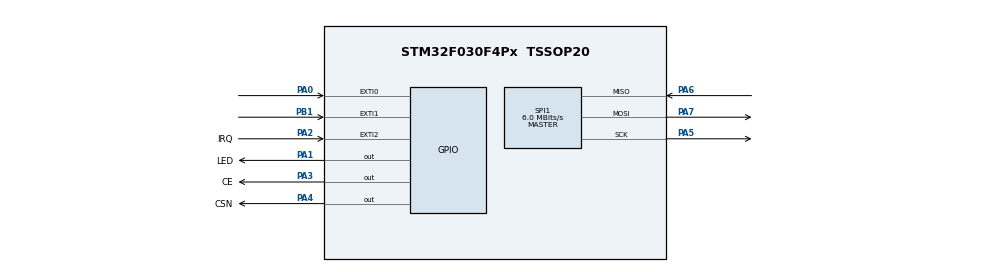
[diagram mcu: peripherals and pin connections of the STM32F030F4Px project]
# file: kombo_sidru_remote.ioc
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IWDG.Prescaler=IWDG_PRESCALER_32
Mcu.Family=STM32F0
Mcu.Name=STM32F030F4Px
Mcu.Package=TSSOP20
NVIC.EXTI0_1_IRQn=true\:0\:0\:false\:false\:true\:true\:true
NVIC.EXTI2_3_IRQn=true\:0\:0\:false\:false\:true\:true\:true
PA0.GPIO_ModeDefaultEXTI=GPIO_MODE_IT_FALLING
PA0.GPIO_PuPd=GPIO_NOPULL
PA0.Signal=GPXTI0
PA1.GPIO_Label=LED
PA1.Signal=GPIO_Output
PA13.Mode=Serial_Wire
PA13.Signal=SYS_SWDIO
PA14.Mode=Serial_Wire
PA14.Signal=SYS_SWCLK
PA2.GPIO_Label=IRQ
PA2.Signal=GPXTI2
PA3.GPIO_Label=CE
PA3.Signal=GPIO_Output
PA4.GPIO_Label=CSN
PA4.Signal=GPIO_Output
PA5.Mode=Full_Duplex_Master
PA5.Signal=SPI1_SCK
PA6.Mode=Full_Duplex_Master
PA6.Signal=SPI1_MISO
PA7.Mode=Full_Duplex_Master
PA7.Signal=SPI1_MOSI
PB1.GPIO_ModeDefaultEXTI=GPIO_MODE_IT_FALLING
PB1.GPIO_PuPd=GPIO_NOPULL
PB1.Signal=GPXTI1
PF0-OSC_IN.Mode=HSE-External-Oscillator
PF0-OSC_IN.Signal=RCC_OSC_IN
PF1-OSC_OUT.Mode=HSE-External-Oscillator
PF1-OSC_OUT.Signal=RCC_OSC_OUT
ProjectManager.HeapSize=0x200
ProjectManager.StackSize=0x400
ProjectManager.TargetToolchain=MDK-ARM V5.32
RCC.AHBFreq_Value=48000000
RCC.APB1Freq_Value=48000000
RCC.APB1TimFreq_Value=48000000
RCC.HCLKFreq_Value=48000000
RCC.PLLMUL=RCC_PLL_MUL6
RCC.PLLSourceVirtual=RCC_PLLSOURCE_HSE
RCC.SYSCLKFreq_VALUE=48000000
RCC.SYSCLKSource=RCC_SYSCLKSOURCE_PLLCLK
SPI1.BaudRatePrescaler=SPI_BAUDRATEPRESCALER_8
SPI1.CalculateBaudRate=6.0 MBits/s
SPI1.DataSize=SPI_DATASIZE_8BIT
SPI1.Direction=SPI_DIRECTION_2LINES
SPI1.Mode=SPI_MODE_MASTER
SPI1.VirtualType=VM_MASTER
VP_IWDG_VS_IWDG.Mode=IWDG_Activate
board=custom

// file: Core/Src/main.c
/* USER CODE BEGIN Header */
/*
* main.c
* Основной файл программы пульта ДУ контроллера светодиодов ws2812b
* СветоИздучающего Декоративного Радиоуправляемого Устройства (СИДРУ)
* Проект "КомБО" (Открытые системы беспроводной коммуникации)
*
* Микроконтроллер:  stm32f030f4p6
* Приемопередатчик: nrf24l01+
*
* Подключение периферии:
* NRF24L01		STM32
* CE					PA3(9)
* CSN					PA4(10)
* SCK					PA5(11)
* MOSI				PA7(13)
* MISO				PA6(12)
* IRQ					PA2(8)
*
* светодиод		PA1(7)
* кнопка 1		PB1(14)
* кнопка 2		PA0(6)
*
*   Краткое описание работы устройства:
* При включении питания устройство моргает светодиодом 5 раз.
* В процессе работы устройство принимает запросы от основного устройства и отправляет
* пустые ответы, если ни одна из кнопок не нажата, и команды включения/выключения
* или смены режима при нажатии соответствующей кнопки.
* Ответ на каждый запрос сопровождается морганием светодиода.
*
* Для определения состояния кнопок используются прерывания, срабатывающие по спаду уровня
*
* Примечания:
* - Проект создан в STM32CubeMX, структура проекта, основные настройки и инициализация периферии
*   созданы автоматически.
* - Для МК stm32f030f4p6 - без перемычки на BOOT (1) - старт в режиме загрузчика, можно подключиться
*   по USART и через SWD, с перемычкой - нормальная загрузка, можно подключиться только через SWD.
*
*		Автор: Мелехин В.Н. (MelexinVN)
*/

/* USER CODE END Header */
#include "main.h"

/* USER CODE BEGIN PV */
//объявляем переменные
uint8_t f_but_1 = 0;			//флаг нажатия первой кнопки
uint8_t f_but_2 = 0;			//флаг нажатия второй кнопки

//внешние переменные и массивы
extern volatile uint8_t f_rx, f_tx;			//флаги приема и передачи
extern uint8_t tx_buf[TX_PLOAD_WIDTH];	//буфер передачи
extern uint8_t rx_buf[TX_PLOAD_WIDTH];	//буфер приема
/* USER CODE END PV */

void SystemClock_Config(void);
static void MX_GPIO_Init(void);
static void MX_IWDG_Init(void);
static void MX_SPI1_Init(void);

/* USER CODE BEGIN 0 */
//Процедура обработки прерывания при нажатии кнопки 1
void but_1_callback(void)
{
	f_but_1 = 1;			//поднимаем флаг
}
//Процедура обработки прерывания при нажатии кнопки 2
void but_2_callback(void)
{
	f_but_2 = 1;			//поднимаем флаг
}

//Процедура моргания светодиодом
void blink_led(uint8_t blink_counter)
{
	while (blink_counter)		//пока счетчик не равен 0
	{
		LED_ON();							//включаем светодиод
		LL_mDelay(10);				//ждем
		LED_OFF();						//выключаем светодиод
		if (blink_counter > 1) LL_mDelay(50);				//если не последнее моргание, ждем
		blink_counter--;			//декрементируем счетчик
	}
}

//Процедура приема радиомодуля
void nrf24l01_receive(void)
{
	if(f_rx)	//если флаг приема поднят (флаг поднимается по внешнему прерыванию от радиомодуля)
	{
		if (rx_buf[0] == OUR_ADDR)//если первый принятый байт совпадает с адресом устройства
		{
			if (f_but_1)						//если флаг нажатия кнопки 1 поднят
			{
				tx_buf[0] = SID_ADDR;	//записываем адрес
				tx_buf[1] = ON_OFF;		//записываем команду включения/выключения
				nrf24_send(tx_buf);		//отправляем посылку в эфир
				f_but_1 = 0;					//опускам флаг
			}

			else if (f_but_2)				//если флаг нажатия кнопки 2 поднят
			{
				tx_buf[0] = SID_ADDR;	//записываем адрес
				tx_buf[1] = MODE_UP;	//записываем команду изменения режима
				nrf24_send(tx_buf);		//отправляем посылку в эфир
				f_but_2 = 0;					//опускам флаг
			}
		}

		blink_led(1);							//моргаем светодиодом
		f_rx = 0;									//опускаем флаг приема
	}
}
/* USER CODE END 0 */

int main(void)
{

  /* MCU Configuration--------------------------------------------------------*/

  /* Reset of all peripherals, Initializes the Flash interface and the Systick. */

  LL_APB1_GRP2_EnableClock(LL_APB1_GRP2_PERIPH_SYSCFG);
  LL_APB1_GRP1_EnableClock(LL_APB1_GRP1_PERIPH_PWR);

  /* System interrupt init*/
  /* SysTick_IRQn interrupt configuration */
  NVIC_SetPriority(SysTick_IRQn, 3);

  /* Configure the system clock */
  SystemClock_Config();

  /* Initialize all configured peripherals */
  MX_GPIO_Init();
  MX_IWDG_Init();
  MX_SPI1_Init();
  /* USER CODE BEGIN 2 */

	//Включаем SPI
	LL_SPI_Enable(SPI1);

	//Включаем внешнее прерывание
	LL_EXTI_EnableIT_0_31(LL_EXTI_LINE_2);
	LL_EXTI_EnableFallingTrig_0_31(LL_EXTI_LINE_2);

	nrf24_init();						//инициализируем радиомодуль
	blink_led(5);						//моргаем светодиодом при включении

  /* USER CODE END 2 */

  /* Infinite loop */
  /* USER CODE BEGIN WHILE */
  while (1)
  {
		nrf24l01_receive();	//обрабатываем прием радиомодуля
    /* USER CODE END WHILE */

    /* USER CODE BEGIN 3 */
		LL_IWDG_ReloadCounter(IWDG);//сбрасываем сторожевой таймер

  }
  /* USER CODE END 3 */
}

void SystemClock_Config(void)
{
  LL_FLASH_SetLatency(LL_FLASH_LATENCY_1);
  while(LL_FLASH_GetLatency() != LL_FLASH_LATENCY_1)
  {
  }
  LL_RCC_HSE_Enable();

   /* Wait till HSE is ready */
  while(LL_RCC_HSE_IsReady() != 1)
  {

  }
  LL_RCC_LSI_Enable();

   /* Wait till LSI is ready */
  while(LL_RCC_LSI_IsReady() != 1)
  {

  }
  LL_RCC_PLL_ConfigDomain_SYS(LL_RCC_PLLSOURCE_HSE_DIV_1, LL_RCC_PLL_MUL_6);
  LL_RCC_PLL_Enable();

   /* Wait till PLL is ready */
  while(LL_RCC_PLL_IsReady() != 1)
  {

  }
  LL_RCC_SetAHBPrescaler(LL_RCC_SYSCLK_DIV_1);
  LL_RCC_SetAPB1Prescaler(LL_RCC_APB1_DIV_1);
  LL_RCC_SetSysClkSource(LL_RCC_SYS_CLKSOURCE_PLL);

   /* Wait till System clock is ready */
  while(LL_RCC_GetSysClkSource() != LL_RCC_SYS_CLKSOURCE_STATUS_PLL)
  {

  }
  LL_Init1msTick(48000000);
  LL_SetSystemCoreClock(48000000);
}

static void MX_IWDG_Init(void)
{

  LL_IWDG_Enable(IWDG);
  LL_IWDG_EnableWriteAccess(IWDG);
  LL_IWDG_SetPrescaler(IWDG, LL_IWDG_PRESCALER_32);
  LL_IWDG_SetReloadCounter(IWDG, 4095);
  while (LL_IWDG_IsReady(IWDG) != 1)
  {
  }

  LL_IWDG_ReloadCounter(IWDG);

}

static void MX_SPI1_Init(void)
{

  LL_SPI_InitTypeDef SPI_InitStruct = {0};

  LL_GPIO_InitTypeDef GPIO_InitStruct = {0};

  /* Peripheral clock enable */
  LL_APB1_GRP2_EnableClock(LL_APB1_GRP2_PERIPH_SPI1);

  LL_AHB1_GRP1_EnableClock(LL_AHB1_GRP1_PERIPH_GPIOA);
  /**SPI1 GPIO Configuration
  PA5   ------> SPI1_SCK
  PA6   ------> SPI1_MISO
  PA7   ------> SPI1_MOSI
  */
  GPIO_InitStruct.Pin = LL_GPIO_PIN_5;
  GPIO_InitStruct.Mode = LL_GPIO_MODE_ALTERNATE;
  GPIO_InitStruct.Speed = LL_GPIO_SPEED_FREQ_HIGH;
  GPIO_InitStruct.OutputType = LL_GPIO_OUTPUT_PUSHPULL;
  GPIO_InitStruct.Pull = LL_GPIO_PULL_NO;
  GPIO_InitStruct.Alternate = LL_GPIO_AF_0;
  LL_GPIO_Init(GPIOA, &GPIO_InitStruct);

  GPIO_InitStruct.Pin = LL_GPIO_PIN_6;
  GPIO_InitStruct.Mode = LL_GPIO_MODE_ALTERNATE;
  GPIO_InitStruct.Speed = LL_GPIO_SPEED_FREQ_HIGH;
  GPIO_InitStruct.OutputType = LL_GPIO_OUTPUT_PUSHPULL;
  GPIO_InitStruct.Pull = LL_GPIO_PULL_NO;
  GPIO_InitStruct.Alternate = LL_GPIO_AF_0;
  LL_GPIO_Init(GPIOA, &GPIO_InitStruct);

  GPIO_InitStruct.Pin = LL_GPIO_PIN_7;
  GPIO_InitStruct.Mode = LL_GPIO_MODE_ALTERNATE;
  GPIO_InitStruct.Speed = LL_GPIO_SPEED_FREQ_HIGH;
  GPIO_InitStruct.OutputType = LL_GPIO_OUTPUT_PUSHPULL;
  GPIO_InitStruct.Pull = LL_GPIO_PULL_NO;
  GPIO_InitStruct.Alternate = LL_GPIO_AF_0;
  LL_GPIO_Init(GPIOA, &GPIO_InitStruct);

  /* SPI1 parameter configuration*/
  SPI_InitStruct.TransferDirection = LL_SPI_FULL_DUPLEX;
  SPI_InitStruct.Mode = LL_SPI_MODE_MASTER;
  SPI_InitStruct.DataWidth = LL_SPI_DATAWIDTH_8BIT;
  SPI_InitStruct.ClockPolarity = LL_SPI_POLARITY_LOW;
  SPI_InitStruct.ClockPhase = LL_SPI_PHASE_1EDGE;
  SPI_InitStruct.NSS = LL_SPI_NSS_SOFT;
  SPI_InitStruct.BaudRate = LL_SPI_BAUDRATEPRESCALER_DIV8;
  SPI_InitStruct.BitOrder = LL_SPI_MSB_FIRST;
  SPI_InitStruct.CRCCalculation = LL_SPI_CRCCALCULATION_DISABLE;
  SPI_InitStruct.CRCPoly = 7;
  LL_SPI_Init(SPI1, &SPI_InitStruct);
  LL_SPI_SetStandard(SPI1, LL_SPI_PROTOCOL_MOTOROLA);
  LL_SPI_EnableNSSPulseMgt(SPI1);

}

static void MX_GPIO_Init(void)
{
  LL_EXTI_InitTypeDef EXTI_InitStruct = {0};
  LL_GPIO_InitTypeDef GPIO_InitStruct = {0};

  /* GPIO Ports Clock Enable */
  LL_AHB1_GRP1_EnableClock(LL_AHB1_GRP1_PERIPH_GPIOF);
  LL_AHB1_GRP1_EnableClock(LL_AHB1_GRP1_PERIPH_GPIOA);
  LL_AHB1_GRP1_EnableClock(LL_AHB1_GRP1_PERIPH_GPIOB);

  /**/
  LL_GPIO_ResetOutputPin(LED_GPIO_Port, LED_Pin);

  /**/
  LL_GPIO_ResetOutputPin(CE_GPIO_Port, CE_Pin);

  /**/
  LL_GPIO_ResetOutputPin(CSN_GPIO_Port, CSN_Pin);

  /**/
  LL_SYSCFG_SetEXTISource(LL_SYSCFG_EXTI_PORTA, LL_SYSCFG_EXTI_LINE0);

  /**/
  LL_SYSCFG_SetEXTISource(LL_SYSCFG_EXTI_PORTA, LL_SYSCFG_EXTI_LINE2);

  /**/
  LL_SYSCFG_SetEXTISource(LL_SYSCFG_EXTI_PORTB, LL_SYSCFG_EXTI_LINE1);

  /**/
  LL_GPIO_SetPinPull(GPIOA, LL_GPIO_PIN_0, LL_GPIO_PULL_NO);

  /**/
  LL_GPIO_SetPinPull(IRQ_GPIO_Port, IRQ_Pin, LL_GPIO_PULL_NO);

  /**/
  LL_GPIO_SetPinPull(GPIOB, LL_GPIO_PIN_1, LL_GPIO_PULL_NO);

  /**/
  LL_GPIO_SetPinMode(GPIOA, LL_GPIO_PIN_0, LL_GPIO_MODE_INPUT);

  /**/
  LL_GPIO_SetPinMode(IRQ_GPIO_Port, IRQ_Pin, LL_GPIO_MODE_INPUT);

  /**/
  LL_GPIO_SetPinMode(GPIOB, LL_GPIO_PIN_1, LL_GPIO_MODE_INPUT);

  /**/
  EXTI_InitStruct.Line_0_31 = LL_EXTI_LINE_0;
  EXTI_InitStruct.LineCommand = ENABLE;
  EXTI_InitStruct.Mode = LL_EXTI_MODE_IT;
  EXTI_InitStruct.Trigger = LL_EXTI_TRIGGER_FALLING;
  LL_EXTI_Init(&EXTI_InitStruct);

  /**/
  EXTI_InitStruct.Line_0_31 = LL_EXTI_LINE_2;
  EXTI_InitStruct.LineCommand = ENABLE;
  EXTI_InitStruct.Mode = LL_EXTI_MODE_IT;
  EXTI_InitStruct.Trigger = LL_EXTI_TRIGGER_RISING;
  LL_EXTI_Init(&EXTI_InitStruct);

  /**/
  EXTI_InitStruct.Line_0_31 = LL_EXTI_LINE_1;
  EXTI_InitStruct.LineCommand = ENABLE;
  EXTI_InitStruct.Mode = LL_EXTI_MODE_IT;
  EXTI_InitStruct.Trigger = LL_EXTI_TRIGGER_FALLING;
  LL_EXTI_Init(&EXTI_InitStruct);

  /**/
  GPIO_InitStruct.Pin = LED_Pin;
  GPIO_InitStruct.Mode = LL_GPIO_MODE_OUTPUT;
  GPIO_InitStruct.Speed = LL_GPIO_SPEED_FREQ_LOW;
  GPIO_InitStruct.OutputType = LL_GPIO_OUTPUT_PUSHPULL;
  GPIO_InitStruct.Pull = LL_GPIO_PULL_NO;
  LL_GPIO_Init(LED_GPIO_Port, &GPIO_InitStruct);

  /**/
  GPIO_InitStruct.Pin = CE_Pin;
  GPIO_InitStruct.Mode = LL_GPIO_MODE_OUTPUT;
  GPIO_InitStruct.Speed = LL_GPIO_SPEED_FREQ_LOW;
  GPIO_InitStruct.OutputType = LL_GPIO_OUTPUT_PUSHPULL;
  GPIO_InitStruct.Pull = LL_GPIO_PULL_NO;
  LL_GPIO_Init(CE_GPIO_Port, &GPIO_InitStruct);

  /**/
  GPIO_InitStruct.Pin = CSN_Pin;
  GPIO_InitStruct.Mode = LL_GPIO_MODE_OUTPUT;
  GPIO_InitStruct.Speed = LL_GPIO_SPEED_FREQ_LOW;
  GPIO_InitStruct.OutputType = LL_GPIO_OUTPUT_PUSHPULL;
  GPIO_InitStruct.Pull = LL_GPIO_PULL_NO;
  LL_GPIO_Init(CSN_GPIO_Port, &GPIO_InitStruct);

  /* EXTI interrupt init*/
  NVIC_SetPriority(EXTI0_1_IRQn, 0);
  NVIC_EnableIRQ(EXTI0_1_IRQn);
  NVIC_SetPriority(EXTI2_3_IRQn, 0);
  NVIC_EnableIRQ(EXTI2_3_IRQn);

}

void Error_Handler(void)
{
  __disable_irq();
  while (1)
  {
  }
}
